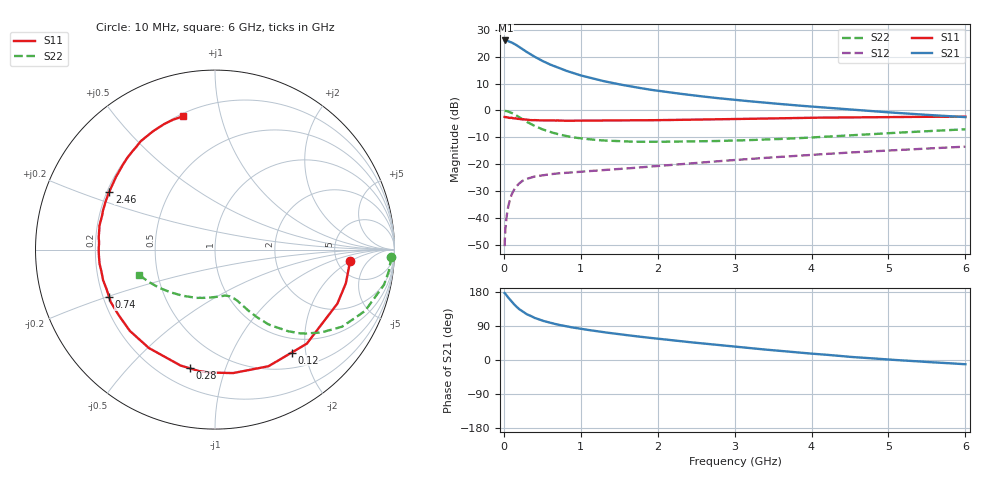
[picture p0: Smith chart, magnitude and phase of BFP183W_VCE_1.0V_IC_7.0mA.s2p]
! Infineon Technologies  Discrete & RF Semiconductors
! BFP183W
! VCE = 1.0 V,  IC =  7.0 mA
! Common Emitter S-Parameters:  Jan 2016
# GHz  S  MA  R  50
!  f  S11  S21  S12  S22
! GHz  MAG  ANG  MAG  ANG  MAG  ANG  MAG  ANG
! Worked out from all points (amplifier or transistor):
!   210 points, 10 MHz to 6 GHz, reference 50 ohm
!   highest |S21| = 26.0 dB at 20 MHz (marker M1)
!   |S21| within 3 dB of that: start of sweep to 231.3 MHz
!   unconditionally stable (mu >= 1): 1.435 GHz to end of sweep
!   at 185 MHz: K = 0.19, MSG = 25.7 dB, |S12| = -27.6 dB
!   at 1.52 GHz: K = 1.03, MAG = 14.6 dB, |S12| = -21.7 dB
!   at 6 GHz: K = 1.04, MAG = 4.3 dB, |S12| = -13.5 dB
!   S11 on the Smith chart (normalised r, x): 10 MHz: 6.60, -1.95; 120 MHz: 0.74, -1.74; 280 MHz: 0.31, -0.76; 740 MHz: 0.22, -0.20; 2.46 GHz: 0.21, +0.25; 6 GHz: 0.22, +0.77
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0.01  0.7557 -4.8  19.86 176.7  0.003 90.1  0.984 -2.3
0.02  0.7519 -9.7  19.95 174.7  0.0062 83.1  0.9791 -4.7
0.05  0.7454 -23.8  19.58 166.5  0.0145 78.5  0.9617 -11.8
0.1  0.7323 -45.7  18.39 154.3  0.027 67.5  0.9034 -22.2
0.12  0.7151 -53.4  17.69 150.1  0.0309 63.5  0.8705 -25.6
0.15  0.7149 -65.4  16.83 143.1  0.0369 59.2  0.8276 -31.3
0.2  0.6953 -81.7  15.1 134.2  0.044 52.4  0.7477 -38.2
0.24  0.6856 -92.6  13.87 128.5  0.0488 48.1  0.6898 -42.7
0.28  0.6761 -102.0  12.7 123.3  0.0521 44.5  0.6369 -46.3
0.3  0.6739 -106.5  12.14 120.6  0.0535 42.9  0.6116 -48.1
0.4  0.6606 -123.9  9.948 111.1  0.0591 37.4  0.5144 -54.3
0.5  0.6559 -136.3  8.338 103.8  0.0624 34.4  0.4463 -58.0
0.6  0.6492 -145.7  7.14 98.1  0.0651 32.6  0.3979 -60.7
0.74  0.6463 -155.7  5.958 91.8  0.068 31.4  0.3521 -63.3
1.02  0.6448 -169.7  4.396 81.8  0.0728 31.5  0.3002 -67.6
1.46  0.6494 175.1  3.135 69.2  0.0809 33.5  0.2692 -73.9
2.02  0.6608 160.7  2.299 55.8  0.0932 36.6  0.2612 -82.9
2.46  0.6717 151.2  1.906 46.2  0.1043 37.8  0.2648 -91.2
3.1  0.6937 138.9  1.522 33.3  0.1225 38.2  0.278 -104.6
4.1  0.7336 123.1  1.15 15.3  0.1523 36.1  0.319 -127.5
5.1  0.7555 111.2  0.901 -0.1  0.1831 32.0  0.384 -147.7
6  0.7638 103.4  0.751 -11.2  0.212 28.0  0.4458 -161.6
